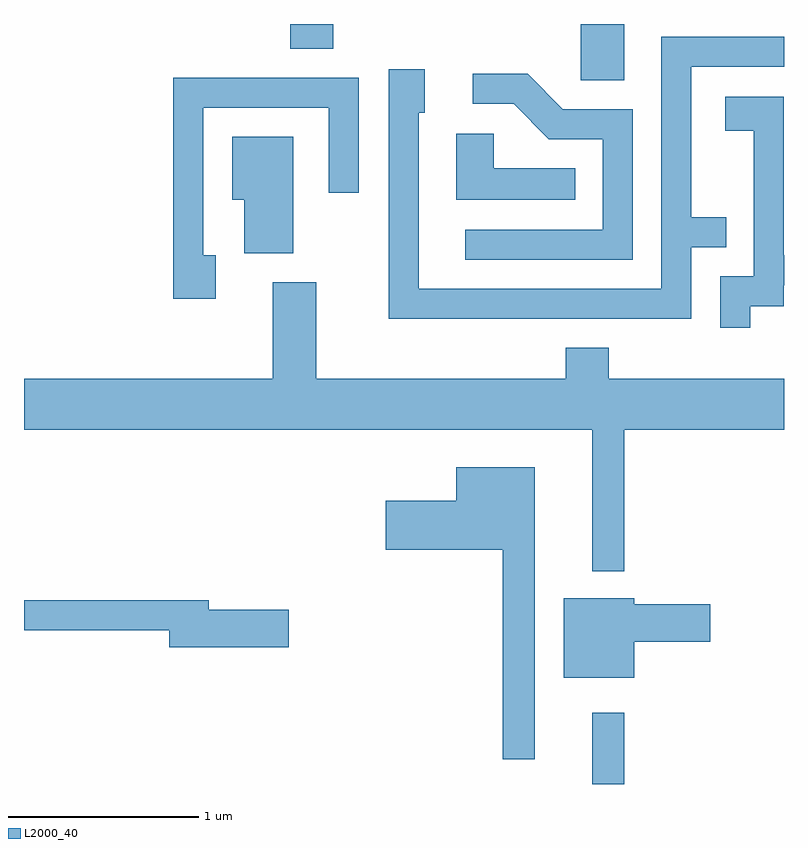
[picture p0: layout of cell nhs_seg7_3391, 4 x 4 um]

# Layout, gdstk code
import gdstk
lib = gdstk.Library(unit=1e-6, precision=1e-09)
def R(c, l, rs):  # rectangles x0, y0, x1, y1
    for r in rs: c.add(gdstk.rectangle(r[:2], r[2:], *l))
def P(c, l, *ps):  # polygons
    for p in ps: c.add(gdstk.Polygon(p, *l))
L2000_40 = (2000, 40)

nhs_seg7_3391 = lib.new_cell('nhs_seg7_3391')
R(nhs_seg7_3391, L2000_40, [(292.601,1690.252,292.769,1690.628), (292.541,1693.956,292.769,1694.252), (291.011,1694.121,291.239,1694.252)])
P(nhs_seg7_3391, L2000_40, [(293.124,1693.076),(293.308,1693.076),(293.308,1693.234),(293.124,1693.234),(293.124,1694.026),(293.611,1694.026),(293.611,1694.184),(292.966,1694.184),(292.966,1692.859),(291.689,1692.859),(291.689,1693.786),(291.719,1693.786),(291.719,1694.014),(291.531,1694.014),(291.531,1692.701),(293.124,1692.701)],
  [(292.814,1693.804),(292.447,1693.804),(292.262,1693.989),(291.973,1693.989),(291.973,1693.831),(292.189,1693.831),(292.374,1693.646),(292.656,1693.646),(292.656,1693.169),(291.933,1693.169),(291.933,1693.011),(292.814,1693.011)],
  [(290.619,1693.034),(290.554,1693.034),(290.554,1693.811),(291.216,1693.811),(291.216,1693.363),(291.374,1693.363),(291.374,1693.969),(290.396,1693.969),(290.396,1692.806),(290.619,1692.806)],
  [(293.434,1692.766),(293.609,1692.766),(293.609,1692.876),(293.611,1692.876),(293.611,1693.034),(293.609,1693.034),(293.609,1693.869),(293.301,1693.869),(293.301,1693.691),(293.451,1693.691),(293.451,1692.924),(293.276,1692.924),(293.276,1692.653),(293.434,1692.653)],
  [(292.513,1693.494),(292.084,1693.494),(292.084,1693.674),(291.886,1693.674),(291.886,1693.326),(292.513,1693.326)],
  [(291.029,1693.659),(290.706,1693.659),(290.706,1693.326),(290.771,1693.326),(290.771,1693.046),(291.029,1693.046)],
  [(292.769,1692.116),(293.611,1692.116),(293.611,1692.384),(292.689,1692.384),(292.689,1692.549),(292.461,1692.549),(292.461,1692.384),(291.149,1692.384),(291.149,1692.894),(290.921,1692.894),(290.921,1692.384),(289.611,1692.384),(289.611,1692.116),(292.601,1692.116),(292.601,1691.373),(292.769,1691.373)],
  [(292.299,1691.919),(291.886,1691.919),(291.886,1691.744),(291.516,1691.744),(291.516,1691.486),(292.131,1691.486),(292.131,1690.383),(292.299,1690.383)],
  [(292.824,1691.001),(293.224,1691.001),(293.224,1691.199),(292.824,1691.199),(292.824,1691.229),(292.451,1691.229),(292.451,1690.811),(292.824,1690.811)],
  [(291.004,1691.169),(290.584,1691.169),(290.584,1691.219),(289.611,1691.219),(289.611,1691.061),(290.376,1691.061),(290.376,1690.971),(291.004,1690.971)])

lib.write_gds('nhs_seg7_3391.gds')
